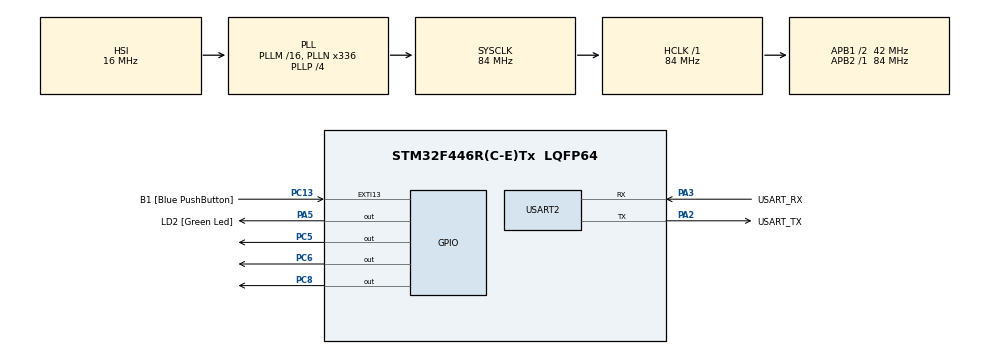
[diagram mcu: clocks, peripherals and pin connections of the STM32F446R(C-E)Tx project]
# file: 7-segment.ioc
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Mcu.Family=STM32F4
Mcu.Name=STM32F446R(C-E)Tx
Mcu.Package=LQFP64
NVIC.PriorityGroup=NVIC_PRIORITYGROUP_0
PA13.GPIO_Label=TMS
PA13.Mode=Serial_Wire
PA13.Signal=SYS_JTMS-SWDIO
PA14.GPIO_Label=TCK
PA14.Mode=Serial_Wire
PA14.Signal=SYS_JTCK-SWCLK
PA2.GPIO_Label=USART_TX
PA2.Mode=Asynchronous
PA2.Signal=USART2_TX
PA3.GPIO_Label=USART_RX
PA3.Mode=Asynchronous
PA3.Signal=USART2_RX
PA5.GPIO_Label=LD2 [Green Led]
PA5.Signal=GPIO_Output
PB3.GPIO_Label=SWO
PB3.Signal=SYS_JTDO-SWO
PC13.GPIO_Label=B1 [Blue PushButton]
PC13.GPIO_ModeDefaultEXTI=GPIO_MODE_IT_FALLING
PC13.Signal=GPXTI13
PC14-OSC32_IN.Mode=LSE-External-Oscillator
PC14-OSC32_IN.Signal=RCC_OSC32_IN
PC15-OSC32_OUT.Mode=LSE-External-Oscillator
PC15-OSC32_OUT.Signal=RCC_OSC32_OUT
PC5.Signal=GPIO_Output
PC6.Signal=GPIO_Output
PC8.Signal=GPIO_Output
PH0-OSC_IN.Mode=HSE-External-Oscillator
PH0-OSC_IN.Signal=RCC_OSC_IN
PH1-OSC_OUT.Mode=HSE-External-Oscillator
PH1-OSC_OUT.Signal=RCC_OSC_OUT
ProjectManager.HeapSize=0x200
ProjectManager.StackSize=0x400
ProjectManager.TargetToolchain=STM32CubeIDE
RCC.48MHZClocksFreq_Value=84000000
RCC.AHBFreq_Value=84000000
RCC.APB1CLKDivider=RCC_HCLK_DIV2
RCC.APB1Freq_Value=42000000
RCC.APB1TimFreq_Value=84000000
RCC.APB2Freq_Value=84000000
RCC.APB2TimFreq_Value=84000000
RCC.CortexFreq_Value=84000000
RCC.FLatency-AdvancedSettings=FLASH_LATENCY_2
RCC.HCLKFreq_Value=84000000
RCC.HSE_VALUE=8000000
RCC.HSI_VALUE=16000000
RCC.PLLN=336
RCC.PLLP=RCC_PLLP_DIV4
RCC.SYSCLKFreq_VALUE=84000000
RCC.SYSCLKSource=RCC_SYSCLKSOURCE_PLLCLK
RCC.USBFreq_Value=168000000
RCC.VCOOutputFreq_Value=336000000
USART2.VirtualMode=VM_ASYNC
board=NUCLEO-F446RE

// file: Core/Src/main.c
/* USER CODE BEGIN Header */
/**
  ******************************************************************************
  * @file           : main.c
  * @brief          : Main program body
  ******************************************************************************
  * @attention
  *
  * Copyright (c) 2026 STMicroelectronics.
  * All rights reserved.
  *
  * This software is licensed under terms that can be found in the LICENSE file
  * in the root directory of this software component.
  * If no LICENSE file comes with this software, it is provided AS-IS.
  *
  ******************************************************************************
  */
/* USER CODE END Header */
#include "main.h"

/* USER CODE BEGIN PD */

#define SER GPIO_PIN_8
#define SCK GPIO_PIN_6
#define RCK GPIO_PIN_5

#define SEGMENT_E 0x20
#define SEGMENT_D 0x01
#define SEGMENT_C 0x40
#define SEGMENT_B 0x10
#define SEGMENT_A 0x08
#define SEGMENT_F 0x04
#define SEGMENT_G 0x02

/* USER CODE END PD */

UART_HandleTypeDef huart2;

/* USER CODE BEGIN PV */
const uint8_t digit_map[10] = {
		SEGMENT_A | SEGMENT_B | SEGMENT_C | SEGMENT_F | SEGMENT_E | SEGMENT_D, // 0
		SEGMENT_B | SEGMENT_C, // 1
		SEGMENT_A | SEGMENT_B | SEGMENT_G | SEGMENT_E | SEGMENT_D, // 2
		SEGMENT_A | SEGMENT_B | SEGMENT_G | SEGMENT_C | SEGMENT_D, // 3
		SEGMENT_F | SEGMENT_B | SEGMENT_G| SEGMENT_C, // 4
		SEGMENT_A | SEGMENT_C | SEGMENT_D | SEGMENT_F | SEGMENT_G,                   // 5
		SEGMENT_A | SEGMENT_C | SEGMENT_D | SEGMENT_E | SEGMENT_F | SEGMENT_G,       // 6
		SEGMENT_A | SEGMENT_B | SEGMENT_C,                                            // 7
		SEGMENT_A | SEGMENT_B | SEGMENT_C | SEGMENT_D | SEGMENT_E | SEGMENT_F | SEGMENT_G, // 8
		SEGMENT_A | SEGMENT_B | SEGMENT_C | SEGMENT_D | SEGMENT_F | SEGMENT_G        // 9
};

/* USER CODE END PV */

void SystemClock_Config(void);
static void MX_GPIO_Init(void);
static void MX_USART2_UART_Init(void);

/* USER CODE BEGIN 0 */

void shift_data (uint16_t data) {
	for (int i = 0; i <= 8; i++) {
		if ((data >> (8 - i)) & 0x1) {
			HAL_GPIO_WritePin(GPIOC, SER, GPIO_PIN_SET);

		} else {
			HAL_GPIO_WritePin(GPIOC, SER, GPIO_PIN_RESET);
		}

		HAL_GPIO_WritePin(GPIOC, SCK, GPIO_PIN_SET);

		HAL_GPIO_WritePin(GPIOC, SCK, GPIO_PIN_RESET);
	}

	HAL_GPIO_WritePin(GPIOC, RCK, GPIO_PIN_SET);
	HAL_GPIO_WritePin(GPIOC, RCK, GPIO_PIN_RESET);

};

void display_num (uint8_t num) {
	if (num < 0 || num > 9) return;

	shift_data(digit_map[num]);
}

/* USER CODE END 0 */

int main(void)
{

  /* MCU Configuration--------------------------------------------------------*/

  /* Reset of all peripherals, Initializes the Flash interface and the Systick. */
  HAL_Init();

  /* Configure the system clock */
  SystemClock_Config();

  /* Initialize all configured peripherals */
  MX_GPIO_Init();
  MX_USART2_UART_Init();

  /* Infinite loop */
  /* USER CODE BEGIN WHILE */

  display_num(0);
  // 1000 0000
  // 0000 0100

  while (1)
  {

    /* USER CODE END WHILE */

	  for (int i = 0; i < 10; i++) {
		  display_num(i);
		  HAL_Delay(500);
	  }

  }
}

void SystemClock_Config(void)
{
  RCC_OscInitTypeDef RCC_OscInitStruct = {0};
  RCC_ClkInitTypeDef RCC_ClkInitStruct = {0};

  /** Configure the main internal regulator output voltage
  */
  __HAL_RCC_PWR_CLK_ENABLE();
  __HAL_PWR_VOLTAGESCALING_CONFIG(PWR_REGULATOR_VOLTAGE_SCALE3);

  /** Initializes the RCC Oscillators according to the specified parameters
  * in the RCC_OscInitTypeDef structure.
  */
  RCC_OscInitStruct.OscillatorType = RCC_OSCILLATORTYPE_HSI;
  RCC_OscInitStruct.HSIState = RCC_HSI_ON;
  RCC_OscInitStruct.HSICalibrationValue = RCC_HSICALIBRATION_DEFAULT;
  RCC_OscInitStruct.PLL.PLLState = RCC_PLL_ON;
  RCC_OscInitStruct.PLL.PLLSource = RCC_PLLSOURCE_HSI;
  RCC_OscInitStruct.PLL.PLLM = 16;
  RCC_OscInitStruct.PLL.PLLN = 336;
  RCC_OscInitStruct.PLL.PLLP = RCC_PLLP_DIV4;
  RCC_OscInitStruct.PLL.PLLQ = 2;
  RCC_OscInitStruct.PLL.PLLR = 2;
  if (HAL_RCC_OscConfig(&RCC_OscInitStruct) != HAL_OK)
  {
    Error_Handler();
  }

  /** Initializes the CPU, AHB and APB buses clocks
  */
  RCC_ClkInitStruct.ClockType = RCC_CLOCKTYPE_HCLK|RCC_CLOCKTYPE_SYSCLK
                              |RCC_CLOCKTYPE_PCLK1|RCC_CLOCKTYPE_PCLK2;
  RCC_ClkInitStruct.SYSCLKSource = RCC_SYSCLKSOURCE_PLLCLK;
  RCC_ClkInitStruct.AHBCLKDivider = RCC_SYSCLK_DIV1;
  RCC_ClkInitStruct.APB1CLKDivider = RCC_HCLK_DIV2;
  RCC_ClkInitStruct.APB2CLKDivider = RCC_HCLK_DIV1;

  if (HAL_RCC_ClockConfig(&RCC_ClkInitStruct, FLASH_LATENCY_2) != HAL_OK)
  {
    Error_Handler();
  }
}

static void MX_USART2_UART_Init(void)
{

  huart2.Instance = USART2;
  huart2.Init.BaudRate = 115200;
  huart2.Init.WordLength = UART_WORDLENGTH_8B;
  huart2.Init.StopBits = UART_STOPBITS_1;
  huart2.Init.Parity = UART_PARITY_NONE;
  huart2.Init.Mode = UART_MODE_TX_RX;
  huart2.Init.HwFlowCtl = UART_HWCONTROL_NONE;
  huart2.Init.OverSampling = UART_OVERSAMPLING_16;
  if (HAL_UART_Init(&huart2) != HAL_OK)
  {
    Error_Handler();
  }

}

static void MX_GPIO_Init(void)
{
  GPIO_InitTypeDef GPIO_InitStruct = {0};

  /* GPIO Ports Clock Enable */
  __HAL_RCC_GPIOC_CLK_ENABLE();
  __HAL_RCC_GPIOH_CLK_ENABLE();
  __HAL_RCC_GPIOA_CLK_ENABLE();
  __HAL_RCC_GPIOB_CLK_ENABLE();

  /*Configure GPIO pin Output Level */
  HAL_GPIO_WritePin(LD2_GPIO_Port, LD2_Pin, GPIO_PIN_RESET);

  /*Configure GPIO pin Output Level */
  HAL_GPIO_WritePin(GPIOC, GPIO_PIN_5|GPIO_PIN_6|GPIO_PIN_8, GPIO_PIN_RESET);

  /*Configure GPIO pin : B1_Pin */
  GPIO_InitStruct.Pin = B1_Pin;
  GPIO_InitStruct.Mode = GPIO_MODE_IT_FALLING;
  GPIO_InitStruct.Pull = GPIO_NOPULL;
  HAL_GPIO_Init(B1_GPIO_Port, &GPIO_InitStruct);

  /*Configure GPIO pin : LD2_Pin */
  GPIO_InitStruct.Pin = LD2_Pin;
  GPIO_InitStruct.Mode = GPIO_MODE_OUTPUT_PP;
  GPIO_InitStruct.Pull = GPIO_NOPULL;
  GPIO_InitStruct.Speed = GPIO_SPEED_FREQ_LOW;
  HAL_GPIO_Init(LD2_GPIO_Port, &GPIO_InitStruct);

  /*Configure GPIO pins : PC5 PC6 PC8 */
  GPIO_InitStruct.Pin = GPIO_PIN_5|GPIO_PIN_6|GPIO_PIN_8;
  GPIO_InitStruct.Mode = GPIO_MODE_OUTPUT_PP;
  GPIO_InitStruct.Pull = GPIO_NOPULL;
  GPIO_InitStruct.Speed = GPIO_SPEED_FREQ_LOW;
  HAL_GPIO_Init(GPIOC, &GPIO_InitStruct);

}

void Error_Handler(void)
{
  __disable_irq();
  while (1)
  {
  }
}
